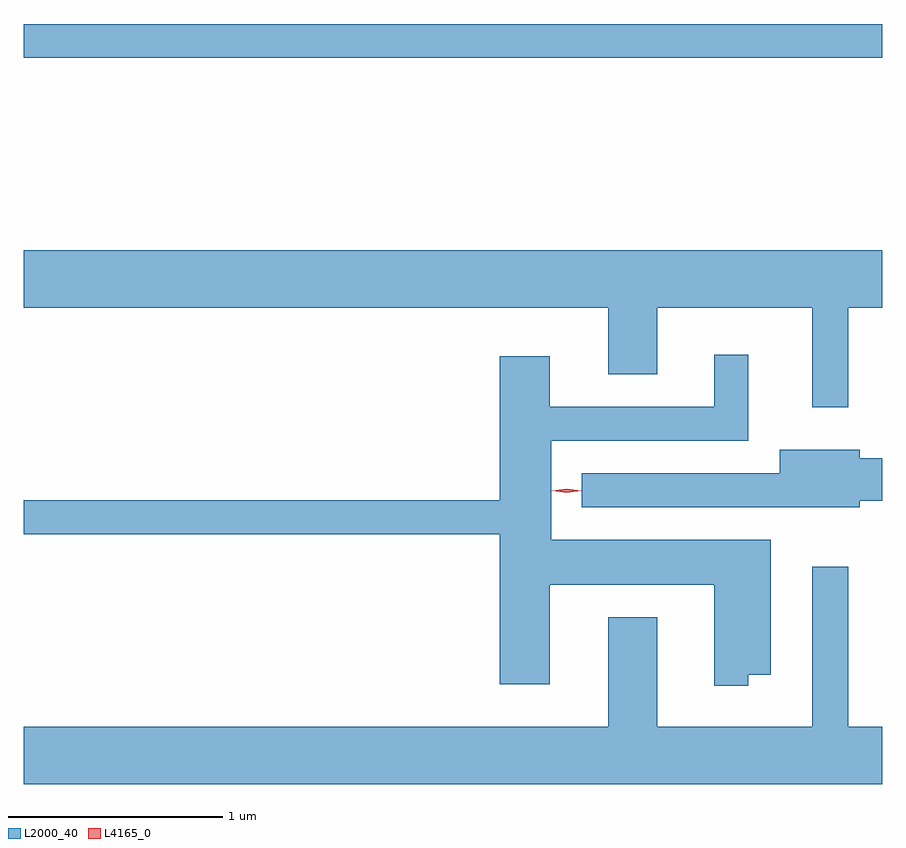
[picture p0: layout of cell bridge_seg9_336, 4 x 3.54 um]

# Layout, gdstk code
import gdstk
lib = gdstk.Library(unit=1e-6, precision=1e-09)
def R(c, l, rs):  # rectangles x0, y0, x1, y1
    for r in rs: c.add(gdstk.rectangle(r[:2], r[2:], *l))
def P(c, l, *ps):  # polygons
    for p in ps: c.add(gdstk.Polygon(p, *l))
L2000_40 = (2000, 40)
L4165_0 = (4165, 0)

bridge_seg9_336 = lib.new_cell('bridge_seg9_336')
R(bridge_seg9_336, L2000_40, [(718.867,1984.101,722.867,1984.259)])
P(bridge_seg9_336, L2000_40, [(722.709,1982.936),(722.867,1982.936),(722.867,1983.204),(718.867,1983.204),(718.867,1982.936),(721.591,1982.936),(721.591,1982.626),(721.819,1982.626),(721.819,1982.936),(722.541,1982.936),(722.541,1982.473),(722.709,1982.473)],
  [(722.244,1981.226),(722.349,1981.226),(722.349,1981.854),(721.324,1981.854),(721.324,1982.316),(722.244,1982.316),(722.244,1982.718),(722.086,1982.718),(722.086,1982.474),(721.319,1982.474),(721.319,1982.709),(721.086,1982.709),(721.086,1982.039),(718.867,1982.039),(718.867,1981.881),(721.086,1981.881),(721.086,1981.181),(721.319,1981.181),(721.319,1981.646),(722.086,1981.646),(722.086,1981.173),(722.244,1981.173)],
  [(722.764,1982.036),(722.867,1982.036),(722.867,1982.234),(722.764,1982.234),(722.764,1982.274),(722.391,1982.274),(722.391,1982.164),(721.468,1982.164),(721.468,1982.006),(722.764,1982.006)],
  [(722.867,1980.984),(722.709,1980.984),(722.709,1981.728),(722.541,1981.728),(722.541,1980.984),(721.819,1980.984),(721.819,1981.494),(721.591,1981.494),(721.591,1980.984),(718.867,1980.984),(718.867,1980.716),(722.867,1980.716)])
P(bridge_seg9_336, L4165_0, [(721.397,1982.073),(721.327,1982.082),(721.327,1982.083),(721.327,1982.083),(721.397,1982.093),(721.466,1982.083),(721.466,1982.083),(721.466,1982.082)],
  [(721.397,1982.073),(721.332,1982.082),(721.331,1982.083),(721.332,1982.083),(721.397,1982.093),(721.462,1982.083),(721.463,1982.083),(721.462,1982.082)])

lib.write_gds('bridge_seg9_336.gds')
